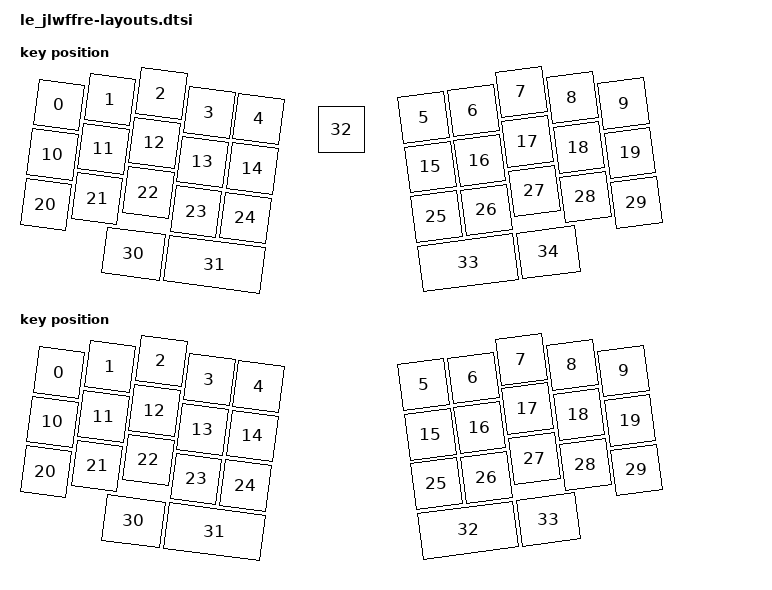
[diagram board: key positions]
/*
 * Copyright (c) 2024 The ZMK Contributors
 *
 * SPDX-License-Identifier: MIT
 */

/ {
    chosen {
        zmk,physical-layout = &default_layout;
    };

    default_layout: keymap_layout_0 {
        compatible = "zmk,physical-layout";
        display-name = "Default";

        transform = <&default_transform>;

        keys  //                     w   h    x    y     rot   rx   ry
            = <&key_physical_attrs 100 100   50  100     750  650    0>
            , <&key_physical_attrs 100 100  150   75     750  650    0>
            , <&key_physical_attrs 100 100  250   50     750  650    0>
            , <&key_physical_attrs 100 100  350   75     750  650    0>
            , <&key_physical_attrs 100 100  450   75     750  650    0>
            , <&key_physical_attrs 100 100  750   75  (-750)  625    0>
            , <&key_physical_attrs 100 100  850   75  (-750)  625    0>
            , <&key_physical_attrs 100 100  950   50  (-750)  625    0>
            , <&key_physical_attrs 100 100 1050   75  (-750)  625    0>
            , <&key_physical_attrs 100 100 1150  100  (-750)  625    0>
            , <&key_physical_attrs 100 100   50  200     750  650    0>
            , <&key_physical_attrs 100 100  150  175     750  650    0>
            , <&key_physical_attrs 100 100  250  150     750  650    0>
            , <&key_physical_attrs 100 100  350  175     750  650    0>
            , <&key_physical_attrs 100 100  450  175     750  650    0>
            , <&key_physical_attrs 100 100  750  175  (-750)  625    0>
            , <&key_physical_attrs 100 100  850  175  (-750)  625    0>
            , <&key_physical_attrs 100 100  950  150  (-750)  625    0>
            , <&key_physical_attrs 100 100 1050  175  (-750)  625    0>
            , <&key_physical_attrs 100 100 1150  200  (-750)  625    0>
            , <&key_physical_attrs 100 100   50  300     750  650    0>
            , <&key_physical_attrs 100 100  150  275     750  650    0>
            , <&key_physical_attrs 100 100  250  250     750  650    0>
            , <&key_physical_attrs 100 100  350  275     750  650    0>
            , <&key_physical_attrs 100 100  450  275     750  650    0>
            , <&key_physical_attrs 100 100  750  275  (-750)  625    0>
            , <&key_physical_attrs 100 100  850  275  (-750)  625    0>
            , <&key_physical_attrs 100 100  950  250  (-750)  625    0>
            , <&key_physical_attrs 100 100 1050  275  (-750)  625    0>
            , <&key_physical_attrs 100 100 1150  300  (-750)  625    0>
            , <&key_physical_attrs 125 100  225  375     750  650    0>
            , <&key_physical_attrs 200 100  350  375     750  650    0>
            , <&key_physical_attrs 100 100  600   75       0    0    0>
            , <&key_physical_attrs 200 100  750  375  (-750)  625    0>
            , <&key_physical_attrs 125 100  950  375  (-750)  625    0>
            ;
    };

    table_rase_layout: keymap_layout_1 {
        compatible = "zmk,physical-layout";
        display-name = "Table Rase";

        transform = <&table_rase_transform>;

        keys  //                     w   h    x    y     rot   rx   ry
            = <&key_physical_attrs 100 100   50  100     750  650    0>
            , <&key_physical_attrs 100 100  150   75     750  650    0>
            , <&key_physical_attrs 100 100  250   50     750  650    0>
            , <&key_physical_attrs 100 100  350   75     750  650    0>
            , <&key_physical_attrs 100 100  450   75     750  650    0>
            , <&key_physical_attrs 100 100  750   75  (-750)  625    0>
            , <&key_physical_attrs 100 100  850   75  (-750)  625    0>
            , <&key_physical_attrs 100 100  950   50  (-750)  625    0>
            , <&key_physical_attrs 100 100 1050   75  (-750)  625    0>
            , <&key_physical_attrs 100 100 1150  100  (-750)  625    0>
            , <&key_physical_attrs 100 100   50  200     750  650    0>
            , <&key_physical_attrs 100 100  150  175     750  650    0>
            , <&key_physical_attrs 100 100  250  150     750  650    0>
            , <&key_physical_attrs 100 100  350  175     750  650    0>
            , <&key_physical_attrs 100 100  450  175     750  650    0>
            , <&key_physical_attrs 100 100  750  175  (-750)  625    0>
            , <&key_physical_attrs 100 100  850  175  (-750)  625    0>
            , <&key_physical_attrs 100 100  950  150  (-750)  625    0>
            , <&key_physical_attrs 100 100 1050  175  (-750)  625    0>
            , <&key_physical_attrs 100 100 1150  200  (-750)  625    0>
            , <&key_physical_attrs 100 100   50  300     750  650    0>
            , <&key_physical_attrs 100 100  150  275     750  650    0>
            , <&key_physical_attrs 100 100  250  250     750  650    0>
            , <&key_physical_attrs 100 100  350  275     750  650    0>
            , <&key_physical_attrs 100 100  450  275     750  650    0>
            , <&key_physical_attrs 100 100  750  275  (-750)  625    0>
            , <&key_physical_attrs 100 100  850  275  (-750)  625    0>
            , <&key_physical_attrs 100 100  950  250  (-750)  625    0>
            , <&key_physical_attrs 100 100 1050  275  (-750)  625    0>
            , <&key_physical_attrs 100 100 1150  300  (-750)  625    0>
            , <&key_physical_attrs 125 100  225  375     750  650    0>
            , <&key_physical_attrs 200 100  350  375     750  650    0>
            , <&key_physical_attrs 200 100  750  375  (-750)  625    0>
            , <&key_physical_attrs 125 100  950  375  (-750)  625    0>
            ;
    };
};
